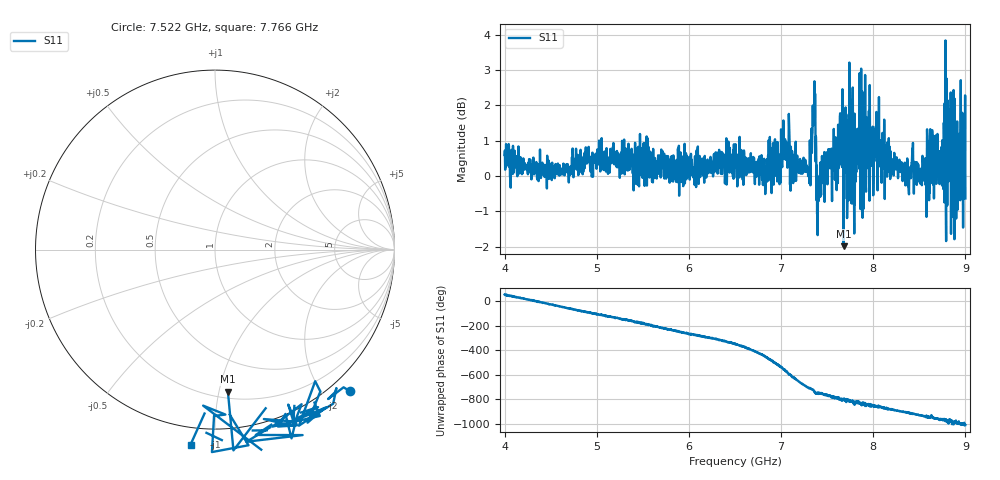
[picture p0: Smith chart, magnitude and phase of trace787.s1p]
! Created with skrf 1.8.0 (http://scikit-rf.org).
# Hz S RI R 50.0
!freq ReS11 ImS11
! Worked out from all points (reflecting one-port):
!   1601 points, 4 GHz to 9 GHz, reference 50 ohm
!   lowest |S11| = -2.0 dB at 7.678 GHz (marker M1), VSWR 8.78, Z = 12.3 - j53.2 ohm
!   phase of S11 starts at 51 deg and turns -1058 deg over the sweep
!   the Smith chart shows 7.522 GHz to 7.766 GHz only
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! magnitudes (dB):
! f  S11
! 4 GHz  0.6
! 4.625 GHz  0.0
! 4.897 GHz  0.4
! 5.25 GHz  -0.1
! 5.875 GHz  0.4
! 6.5 GHz  0.3
! 6.819 GHz  0.1
! 7.066 GHz  0.5
! 7.125 GHz  0.5
! 7.294 GHz  0.0
! 7.356 GHz  1.8
! 7.409 GHz  -0.7
! 7.503 GHz  -0.2
! 7.609 GHz  -0.2
! 7.65 GHz  1.7
! 7.678 GHz  -2.0
! 7.703 GHz  0.5
! 7.75 GHz  1.6
! 7.809 GHz  -0.2
! 7.856 GHz  0.6
! 7.909 GHz  1.3
! 8.038 GHz  0.4
! 8.375 GHz  0.0
! 8.725 GHz  0.5
! 8.819 GHz  0.7
! 8.869 GHz  -0.2
! 8.972 GHz  0.6
! 9 GHz  -0.6
